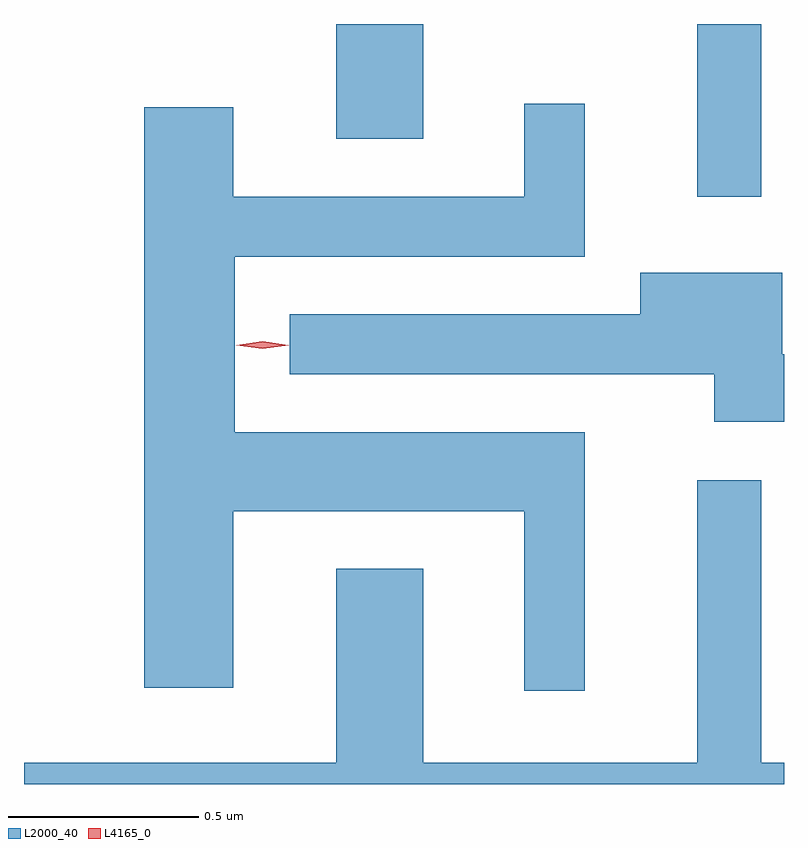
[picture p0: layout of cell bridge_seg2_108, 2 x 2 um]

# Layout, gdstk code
import gdstk
lib = gdstk.Library(unit=1e-6, precision=1e-09)
def R(c, l, rs):  # rectangles x0, y0, x1, y1
    for r in rs: c.add(gdstk.rectangle(r[:2], r[2:], *l))
def P(c, l, *ps):  # polygons
    for p in ps: c.add(gdstk.Polygon(p, *l))
L2000_40 = (2000, 40)
L4165_0 = (4165, 0)

bridge_seg2_108 = lib.new_cell('bridge_seg2_108')
R(bridge_seg2_108, L2000_40, [(882.751,1076.713,882.919,1077.168), (881.801,1076.866,882.029,1077.168)])
P(bridge_seg2_108, L2000_40, [(882.454,1076.094),(881.534,1076.094),(881.534,1076.556),(882.454,1076.556),(882.454,1076.958),(882.296,1076.958),(882.296,1076.714),(881.529,1076.714),(881.529,1076.949),(881.296,1076.949),(881.296,1075.421),(881.529,1075.421),(881.529,1075.886),(882.296,1075.886),(882.296,1075.413),(882.454,1075.413)],
  [(882.979,1076.299),(882.974,1076.299),(882.974,1076.514),(882.601,1076.514),(882.601,1076.404),(881.678,1076.404),(881.678,1076.246),(882.796,1076.246),(882.796,1076.121),(882.979,1076.121)],
  [(882.979,1075.224),(882.919,1075.224),(882.919,1075.968),(882.751,1075.968),(882.751,1075.224),(882.029,1075.224),(882.029,1075.734),(881.801,1075.734),(881.801,1075.224),(880.979,1075.224),(880.979,1075.168),(882.979,1075.168)])
P(bridge_seg2_108, L4165_0, [(881.607,1076.313),(881.538,1076.322),(881.537,1076.323),(881.538,1076.323),(881.607,1076.333),(881.676,1076.323),(881.676,1076.323),(881.676,1076.322)],
  [(881.607,1076.313),(881.541,1076.322),(881.54,1076.323),(881.541,1076.323),(881.607,1076.333),(881.672,1076.323),(881.673,1076.323),(881.672,1076.322)])

lib.write_gds('bridge_seg2_108.gds')
